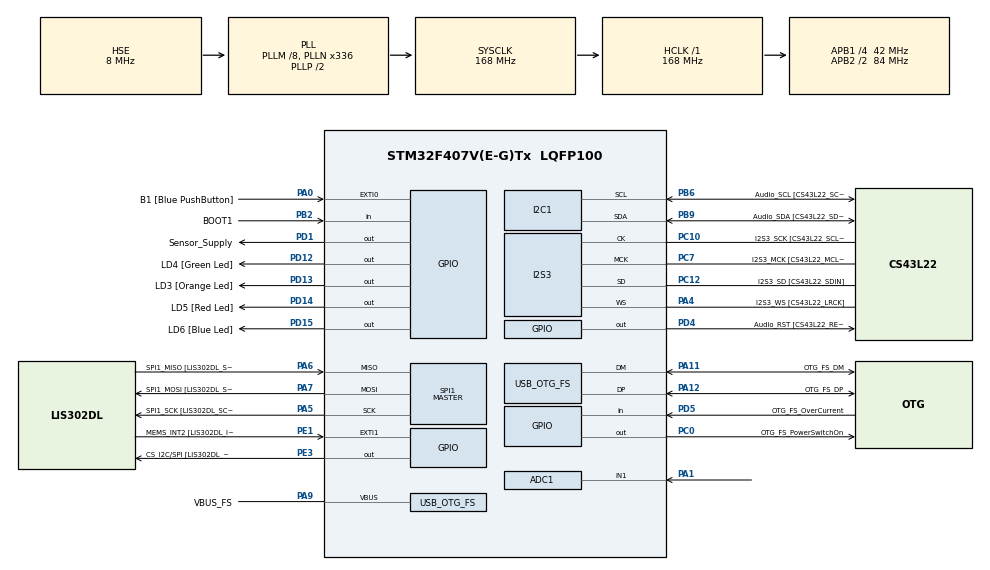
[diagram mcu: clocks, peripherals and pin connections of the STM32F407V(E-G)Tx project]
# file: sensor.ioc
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ADC1.Channel-0\#ChannelRegularConversion=ADC_CHANNEL_1
ADC1.NbrOfConversionFlag=1
ADC1.Rank-0\#ChannelRegularConversion=1
ADC1.Resolution=ADC_RESOLUTION_10B
ADC1.SamplingTime-0\#ChannelRegularConversion=ADC_SAMPLETIME_3CYCLES
ADC1.master=1
I2S3.AudioFreq-Half_Duplex_Master=I2S_AUDIOFREQ_96K
I2S3.ErrorAudioFreq=-2.34 %
I2S3.ErrorAudioFreq-Half_Duplex_Master=0.8 %
I2S3.FullDuplexMode=I2S_FULLDUPLEXMODE_DISABLE
I2S3.Instance=SPI$Index
I2S3.RealAudioFreq=93.75 KHz
I2S3.RealAudioFreq-Half_Duplex_Master=96.774 KHz
I2S3.VirtualMode=I2S_MODE_MASTER
Mcu.Family=STM32F4
Mcu.Name=STM32F407V(E-G)Tx
Mcu.Package=LQFP100
NVIC.OTG_FS_IRQn=true\:0\:0\:false\:false\:true\:true\:true
NVIC.PriorityGroup=NVIC_PRIORITYGROUP_0
PA0-WKUP.GPIO_Label=B1 [Blue PushButton]
PA0-WKUP.GPIO_ModeDefaultEXTI=GPIO_MODE_EVT_RISING
PA0-WKUP.GPIO_PuPd=GPIO_NOPULL
PA0-WKUP.Signal=GPXTI0
PA1.Signal=ADCx_IN1
PA10.GPIO_Label=OTG_FS_ID
PA10.GPIO_Mode=GPIO_MODE_AF_PP
PA10.GPIO_PuPd=GPIO_NOPULL
PA10.GPIO_Speed=GPIO_SPEED_FREQ_LOW
PA10.Signal=USB_OTG_FS_ID
PA11.GPIO_Label=OTG_FS_DM
PA11.GPIO_Mode=GPIO_MODE_AF_PP
PA11.GPIO_PuPd=GPIO_NOPULL
PA11.GPIO_Speed=GPIO_SPEED_FREQ_LOW
PA11.Mode=Host_Only
PA11.Signal=USB_OTG_FS_DM
PA12.GPIO_Label=OTG_FS_DP
PA12.GPIO_Mode=GPIO_MODE_AF_PP
PA12.GPIO_PuPd=GPIO_NOPULL
PA12.GPIO_Speed=GPIO_SPEED_FREQ_LOW
PA12.Mode=Host_Only
PA12.Signal=USB_OTG_FS_DP
PA13.GPIO_Label=SWDIO
PA13.Mode=Serial_Wire
PA13.Signal=SYS_JTMS-SWDIO
PA14.GPIO_Label=SWCLK
PA14.Mode=Serial_Wire
PA14.Signal=SYS_JTCK-SWCLK
PA4.GPIO_Label=I2S3_WS [CS43L22_LRCK]
PA4.GPIO_Mode=GPIO_MODE_AF_PP
PA4.GPIO_PuPd=GPIO_NOPULL
PA4.GPIO_Speed=GPIO_SPEED_FREQ_LOW
PA4.Mode=Half_Duplex_Master
PA4.Signal=I2S3_WS
PA5.GPIO_Label=SPI1_SCK [LIS302DL_SCL/SPC]
PA5.GPIO_Mode=GPIO_MODE_AF_PP
PA5.GPIO_PuPd=GPIO_NOPULL
PA5.GPIO_Speed=GPIO_SPEED_FREQ_LOW
PA5.Mode=Full_Duplex_Master
PA5.Signal=SPI1_SCK
PA6.GPIO_Label=SPI1_MISO [LIS302DL_SDO]
PA6.GPIO_Mode=GPIO_MODE_AF_PP
PA6.GPIO_PuPd=GPIO_NOPULL
PA6.GPIO_Speed=GPIO_SPEED_FREQ_LOW
PA6.Mode=Full_Duplex_Master
PA6.Signal=SPI1_MISO
PA7.GPIO_Label=SPI1_MOSI [LIS302DL_SDA/SDI/SDO]
PA7.GPIO_Mode=GPIO_MODE_AF_PP
PA7.GPIO_PuPd=GPIO_NOPULL
PA7.GPIO_Speed=GPIO_SPEED_FREQ_LOW
PA7.Mode=Full_Duplex_Master
PA7.Signal=SPI1_MOSI
PA9.GPIO_Label=VBUS_FS
PA9.GPIO_Mode=GPIO_MODE_INPUT
PA9.GPIO_PuPd=GPIO_NOPULL
PA9.Mode=Activate_VBUS
PA9.Signal=USB_OTG_FS_VBUS
PB10.GPIO_Label=CLK_IN [MP45DT02_CLK]
PB10.GPIO_Mode=GPIO_MODE_AF_PP
PB10.GPIO_PuPd=GPIO_NOPULL
PB10.GPIO_Speed=GPIO_SPEED_FREQ_LOW
PB10.Signal=I2S2_CK
PB2.GPIO_Label=BOOT1
PB2.GPIO_Mode=GPIO_MODE_INPUT
PB2.GPIO_PuPd=GPIO_NOPULL
PB2.Signal=GPIO_Input
PB3.GPIO_Label=SWO
PB3.Signal=SYS_JTDO-SWO
PB6.GPIO_Label=Audio_SCL [CS43L22_SCL]
PB6.GPIO_Mode=GPIO_MODE_AF_OD
PB6.GPIO_PuPd=GPIO_NOPULL
PB6.GPIO_Speed=GPIO_SPEED_FREQ_LOW
PB6.Mode=I2C
PB6.Signal=I2C1_SCL
PB9.GPIO_Label=Audio_SDA [CS43L22_SDA]
PB9.GPIO_Mode=GPIO_MODE_AF_OD
PB9.GPIO_PuPd=GPIO_NOPULL
PB9.GPIO_Speed=GPIO_SPEED_FREQ_LOW
PB9.Mode=I2C
PB9.Signal=I2C1_SDA
PC0.GPIO_Label=OTG_FS_PowerSwitchOn
PC0.GPIO_PuPd=GPIO_NOPULL
PC0.GPIO_Speed=GPIO_SPEED_FREQ_LOW
PC0.PinState=GPIO_PIN_SET
PC0.Signal=GPIO_Output
PC10.GPIO_Label=I2S3_SCK [CS43L22_SCLK]
PC10.GPIO_Mode=GPIO_MODE_AF_PP
PC10.GPIO_PuPd=GPIO_NOPULL
PC10.GPIO_Speed=GPIO_SPEED_FREQ_LOW
PC10.Mode=Half_Duplex_Master
PC10.Signal=I2S3_CK
PC12.GPIO_Label=I2S3_SD [CS43L22_SDIN]
PC12.GPIO_Mode=GPIO_MODE_AF_PP
PC12.GPIO_PuPd=GPIO_NOPULL
PC12.GPIO_Speed=GPIO_SPEED_FREQ_LOW
PC12.Mode=Half_Duplex_Master
PC12.Signal=I2S3_SD
PC14-OSC32_IN.GPIO_Label=PC14-OSC32_IN
PC14-OSC32_IN.Mode=LSE-External-Oscillator
PC14-OSC32_IN.Signal=RCC_OSC32_IN
PC15-OSC32_OUT.GPIO_Label=PC15-OSC32_OUT
PC15-OSC32_OUT.Mode=LSE-External-Oscillator
PC15-OSC32_OUT.Signal=RCC_OSC32_OUT
PC3.GPIO_Label=PDM_OUT [MP45DT02_DOUT]
PC3.GPIO_Mode=GPIO_MODE_AF_PP
PC3.GPIO_PuPd=GPIO_NOPULL
PC3.GPIO_Speed=GPIO_SPEED_FREQ_LOW
PC3.Signal=I2S2_SD
PC7.GPIO_Label=I2S3_MCK [CS43L22_MCLK]
PC7.GPIO_Mode=GPIO_MODE_AF_PP
PC7.GPIO_PuPd=GPIO_NOPULL
PC7.GPIO_Speed=GPIO_SPEED_FREQ_LOW
PC7.Mode=Master_Clock_Activated
PC7.Signal=I2S3_MCK
PD1.GPIO_Label=Sensor_Supply
PD1.Signal=GPIO_Output
PD12.GPIO_Label=LD4 [Green Led]
PD12.GPIO_PuPd=GPIO_NOPULL
PD12.GPIO_Speed=GPIO_SPEED_FREQ_LOW
PD12.Signal=GPIO_Output
PD13.GPIO_Label=LD3 [Orange Led]
PD13.GPIO_PuPd=GPIO_NOPULL
PD13.GPIO_Speed=GPIO_SPEED_FREQ_LOW
PD13.Signal=GPIO_Output
PD14.GPIO_Label=LD5 [Red Led]
PD14.GPIO_PuPd=GPIO_NOPULL
PD14.GPIO_Speed=GPIO_SPEED_FREQ_LOW
PD14.Signal=GPIO_Output
PD15.GPIO_Label=LD6 [Blue Led]
PD15.GPIO_PuPd=GPIO_NOPULL
PD15.GPIO_Speed=GPIO_SPEED_FREQ_LOW
PD15.Signal=GPIO_Output
PD4.GPIO_Label=Audio_RST [CS43L22_RESET]
PD4.GPIO_PuPd=GPIO_NOPULL
PD4.GPIO_Speed=GPIO_SPEED_FREQ_LOW
PD4.Signal=GPIO_Output
PD5.GPIO_Label=OTG_FS_OverCurrent
PD5.GPIO_Mode=GPIO_MODE_INPUT
PD5.GPIO_PuPd=GPIO_NOPULL
PD5.Signal=GPIO_Input
PE1.GPIO_Label=MEMS_INT2 [LIS302DL_INT2]
PE1.GPIO_ModeDefaultEXTI=GPIO_MODE_EVT_RISING
PE1.GPIO_PuPd=GPIO_NOPULL
PE1.Signal=GPXTI1
PE3.GPIO_Label=CS_I2C/SPI [LIS302DL_CS_I2C/SPI]
PE3.GPIO_PuPd=GPIO_NOPULL
PE3.GPIO_Speed=GPIO_SPEED_FREQ_LOW
PE3.Signal=GPIO_Output
PH0-OSC_IN.GPIO_Label=PH0-OSC_IN
PH0-OSC_IN.Mode=HSE-External-Clock-Source
PH0-OSC_IN.Signal=RCC_OSC_IN
PH1-OSC_OUT.GPIO_Label=PH1-OSC_OUT
PH1-OSC_OUT.Mode=HSE-External-Clock-Source
PH1-OSC_OUT.Signal=RCC_OSC_OUT
ProjectManager.HeapSize=0x200
<<<<<<< HEAD
=======
>>>>>>> origin/feature_LoRa_Communication
ProjectManager.StackSize=0x400
ProjectManager.TargetToolchain=STM32CubeIDE
RCC.48MHZClocksFreq_Value=48000000
RCC.AHBFreq_Value=168000000
RCC.APB1CLKDivider=RCC_HCLK_DIV4
RCC.APB1Freq_Value=42000000
RCC.APB1TimFreq_Value=84000000
RCC.APB2CLKDivider=RCC_HCLK_DIV2
RCC.APB2Freq_Value=84000000
RCC.APB2TimFreq_Value=168000000
RCC.CortexFreq_Value=168000000
RCC.HCLKFreq_Value=168000000
RCC.HSE_VALUE=8000000
RCC.HSI_VALUE=16000000
RCC.PLLM=8
RCC.PLLN=336
RCC.PLLQ=7
RCC.SYSCLKFreq_VALUE=168000000
RCC.SYSCLKSource=RCC_SYSCLKSOURCE_PLLCLK
RCC.VCOOutputFreq_Value=336000000
SH.ADCx_IN1.0=ADC1_IN1,IN1
SPI1.BaudRatePrescaler-Full_Duplex_Master=SPI_BAUDRATEPRESCALER_2
SPI1.CalculateBaudRate-Full_Duplex_Master=42.0 MBits/s
SPI1.Direction=SPI_DIRECTION_2LINES
SPI1.Mode=SPI_MODE_MASTER
SPI1.Mode-Full_Duplex_Master=SPI_MODE_MASTER
SPI1.VirtualType=VM_MASTER
USB_HOST.BSP.number=1
USB_HOST.USBH_HandleTypeDef-CDC_FS=hUsbHostFS
USB_HOST.VirtualModeFS=Cdc
USB_HOST0.BSP.STBoard=false
USB_HOST0.BSP.api=Unknown
USB_HOST0.BSP.i2caddr=0
USB_HOST0.BSP.i2creg=0
USB_HOST0.BSP.instance=PC0
USB_HOST0.BSP.ip=GPIO
USB_HOST0.BSP.mode=Output
USB_HOST0.BSP.name=Drive_VBUS_FS
USB_HOST0.BSP.solution=PC0
USB_OTG_FS.VirtualMode=Host_Only
USB_OTG_FS.phy_itface=HCD_PHY_EMBEDDED
VP_USB_HOST_VS_USB_HOST_CDC_FS.Mode=CDC_FS
board=STM32F407G-DISC1

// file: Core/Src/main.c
/* USER CODE BEGIN Header */
/**
  ******************************************************************************
  * @file           : main.c
  * @brief          : Main program body
  ******************************************************************************
  * @attention
  *
  * <h2><center>&copy; Copyright (c) 2020 STMicroelectronics.
  * All rights reserved.</center></h2>
  *
  * This software component is licensed by ST under Ultimate Liberty license
  * SLA0044, the "License"; You may not use this file except in compliance with
  * the License. You may obtain a copy of the License at:
  *                             www.st.com/SLA0044
  *
  ******************************************************************************
  */
/* USER CODE END Header */

#include "main.h"
#include "usb_host.h"

/* USER CODE BEGIN Includes */
#include "fsm.h"
#include "fsm_sensor.h"
#include "LoRa_comm.h"
#include "ring_buf.h"
#include "fsm.h"
#include "fsm_sensor.h"
/* USER CODE END Includes */

/* USER CODE BEGIN PD */
#define ID_ph_sensor 1
#define range_ph_acido 750 	 	// Only for test, real value is 2.
#define range_ph_basico 800		// Only for test, real value is 5.
#define range_ph_max 900		// Only for test, real value is 14.
#define ph_warning_period 500  	// Test time to alarm.
#define ph_measure_period 200	// Test time to measure.
#define ph_sleep_period 3000	// Test time to sleep
#define ph_setup_period 500		// Test time to setting up
#define ph_average 4			// number of measurements to make for 1 measure.

#define LoRa_period 5000
/* USER CODE END PD */

ADC_HandleTypeDef hadc1;

I2C_HandleTypeDef hi2c1;

I2S_HandleTypeDef hi2s3;

SPI_HandleTypeDef hspi1;

void SystemClock_Config(void);
static void MX_GPIO_Init(void);
static void MX_I2C1_Init(void);
static void MX_I2S3_Init(void);
static void MX_SPI1_Init(void);
static void MX_ADC1_Init(void);
void MX_USB_HOST_Process(void);

int main(void)
{
  /* USER CODE BEGIN 1 */

  fsm_sensor_t fsm_s1;
//  fsm_sensor_t fsm_s2;
//  fsm_sensor_t fsm_s3;

  sensor_t sensor1;
//  sensor_t sensor2;
//  sensor_t sensor3;

  fsm_t* fsm_LoRa;
  /* USER CODE END 1 */

  /* MCU Configuration--------------------------------------------------------*/

  /* Reset of all peripherals, Initializes the Flash interface and the Systick. */
  HAL_Init();

  /* Configure the system clock */
  SystemClock_Config();

  /* Initialize all configured peripherals */
  MX_GPIO_Init();
  MX_I2C1_Init();
  MX_I2S3_Init();
  MX_SPI1_Init();
  MX_USB_HOST_Init();
  MX_ADC1_Init();
  /* USER CODE BEGIN 2 */

  fsm_LoRa = LoRa_initialization(LoRa_period);
  sensor_initialization(&sensor1, ID_ph_sensor, Sensor_Supply_Pin, range_ph_acido, range_ph_basico, range_ph_max, ph_setup_period, ph_warning_period, ph_sleep_period, ph_measure_period, ph_average);

  fsm_sensor_init(&fsm_s1, &sensor1);

  /* USER CODE END 2 */

  /* Infinite loop */
  while (1)
  {
    MX_USB_HOST_Process();

    /* USER CODE BEGIN 3 */
    fsm_fire(fsm_LoRa);
    fsm_fire(&fsm_s1.fsm);
  }
  /* USER CODE END 3 */
}

void SystemClock_Config(void)
{
  RCC_OscInitTypeDef RCC_OscInitStruct = {0};
  RCC_ClkInitTypeDef RCC_ClkInitStruct = {0};
  RCC_PeriphCLKInitTypeDef PeriphClkInitStruct = {0};

  /** Configure the main internal regulator output voltage
  */
  __HAL_RCC_PWR_CLK_ENABLE();
  __HAL_PWR_VOLTAGESCALING_CONFIG(PWR_REGULATOR_VOLTAGE_SCALE1);
  /** Initializes the CPU, AHB and APB busses clocks
  */
  RCC_OscInitStruct.OscillatorType = RCC_OSCILLATORTYPE_HSE;
  RCC_OscInitStruct.HSEState = RCC_HSE_BYPASS;
  RCC_OscInitStruct.PLL.PLLState = RCC_PLL_ON;
  RCC_OscInitStruct.PLL.PLLSource = RCC_PLLSOURCE_HSE;
  RCC_OscInitStruct.PLL.PLLM = 8;
  RCC_OscInitStruct.PLL.PLLN = 336;
  RCC_OscInitStruct.PLL.PLLP = RCC_PLLP_DIV2;
  RCC_OscInitStruct.PLL.PLLQ = 7;
  if (HAL_RCC_OscConfig(&RCC_OscInitStruct) != HAL_OK)
  {
    Error_Handler();
  }
  /** Initializes the CPU, AHB and APB busses clocks
  */
  RCC_ClkInitStruct.ClockType = RCC_CLOCKTYPE_HCLK|RCC_CLOCKTYPE_SYSCLK
                              |RCC_CLOCKTYPE_PCLK1|RCC_CLOCKTYPE_PCLK2;
  RCC_ClkInitStruct.SYSCLKSource = RCC_SYSCLKSOURCE_PLLCLK;
  RCC_ClkInitStruct.AHBCLKDivider = RCC_SYSCLK_DIV1;
  RCC_ClkInitStruct.APB1CLKDivider = RCC_HCLK_DIV4;
  RCC_ClkInitStruct.APB2CLKDivider = RCC_HCLK_DIV2;

  if (HAL_RCC_ClockConfig(&RCC_ClkInitStruct, FLASH_LATENCY_5) != HAL_OK)
  {
    Error_Handler();
  }
  PeriphClkInitStruct.PeriphClockSelection = RCC_PERIPHCLK_I2S;
  PeriphClkInitStruct.PLLI2S.PLLI2SN = 192;
  PeriphClkInitStruct.PLLI2S.PLLI2SR = 2;
  if (HAL_RCCEx_PeriphCLKConfig(&PeriphClkInitStruct) != HAL_OK)
  {
    Error_Handler();
  }
}

static void MX_ADC1_Init(void)
{

  ADC_ChannelConfTypeDef sConfig = {0};

  /** Configure the global features of the ADC (Clock, Resolution, Data Alignment and number of conversion)
  */
  hadc1.Instance = ADC1;
  hadc1.Init.ClockPrescaler = ADC_CLOCK_SYNC_PCLK_DIV4;
  hadc1.Init.Resolution = ADC_RESOLUTION_10B;
  hadc1.Init.ScanConvMode = DISABLE;
  hadc1.Init.ContinuousConvMode = DISABLE;
  hadc1.Init.DiscontinuousConvMode = DISABLE;
  hadc1.Init.ExternalTrigConvEdge = ADC_EXTERNALTRIGCONVEDGE_NONE;
  hadc1.Init.ExternalTrigConv = ADC_SOFTWARE_START;
  hadc1.Init.DataAlign = ADC_DATAALIGN_RIGHT;
  hadc1.Init.NbrOfConversion = 1;
  hadc1.Init.DMAContinuousRequests = DISABLE;
  hadc1.Init.EOCSelection = ADC_EOC_SINGLE_CONV;
  if (HAL_ADC_Init(&hadc1) != HAL_OK)
  {
    Error_Handler();
  }
  /** Configure for the selected ADC regular channel its corresponding rank in the sequencer and its sample time.
  */
  sConfig.Channel = ADC_CHANNEL_1;
  sConfig.Rank = 1;
  sConfig.SamplingTime = ADC_SAMPLETIME_3CYCLES;
  if (HAL_ADC_ConfigChannel(&hadc1, &sConfig) != HAL_OK)
  {
    Error_Handler();
  }

}

static void MX_I2C1_Init(void)
{

  hi2c1.Instance = I2C1;
  hi2c1.Init.ClockSpeed = 100000;
  hi2c1.Init.DutyCycle = I2C_DUTYCYCLE_2;
  hi2c1.Init.OwnAddress1 = 0;
  hi2c1.Init.AddressingMode = I2C_ADDRESSINGMODE_7BIT;
  hi2c1.Init.DualAddressMode = I2C_DUALADDRESS_DISABLE;
  hi2c1.Init.OwnAddress2 = 0;
  hi2c1.Init.GeneralCallMode = I2C_GENERALCALL_DISABLE;
  hi2c1.Init.NoStretchMode = I2C_NOSTRETCH_DISABLE;
  if (HAL_I2C_Init(&hi2c1) != HAL_OK)
  {
    Error_Handler();
  }

}

static void MX_I2S3_Init(void)
{

  hi2s3.Instance = SPI3;
  hi2s3.Init.Mode = I2S_MODE_MASTER_TX;
  hi2s3.Init.Standard = I2S_STANDARD_PHILIPS;
  hi2s3.Init.DataFormat = I2S_DATAFORMAT_16B;
  hi2s3.Init.MCLKOutput = I2S_MCLKOUTPUT_ENABLE;
  hi2s3.Init.AudioFreq = I2S_AUDIOFREQ_96K;
  hi2s3.Init.CPOL = I2S_CPOL_LOW;
  hi2s3.Init.ClockSource = I2S_CLOCK_PLL;
  hi2s3.Init.FullDuplexMode = I2S_FULLDUPLEXMODE_DISABLE;
  if (HAL_I2S_Init(&hi2s3) != HAL_OK)
  {
    Error_Handler();
  }

}

static void MX_SPI1_Init(void)
{

  /* SPI1 parameter configuration*/
  hspi1.Instance = SPI1;
  hspi1.Init.Mode = SPI_MODE_MASTER;
  hspi1.Init.Direction = SPI_DIRECTION_2LINES;
  hspi1.Init.DataSize = SPI_DATASIZE_8BIT;
  hspi1.Init.CLKPolarity = SPI_POLARITY_LOW;
  hspi1.Init.CLKPhase = SPI_PHASE_1EDGE;
  hspi1.Init.NSS = SPI_NSS_SOFT;
  hspi1.Init.BaudRatePrescaler = SPI_BAUDRATEPRESCALER_2;
  hspi1.Init.FirstBit = SPI_FIRSTBIT_MSB;
  hspi1.Init.TIMode = SPI_TIMODE_DISABLE;
  hspi1.Init.CRCCalculation = SPI_CRCCALCULATION_DISABLE;
  hspi1.Init.CRCPolynomial = 10;
  if (HAL_SPI_Init(&hspi1) != HAL_OK)
  {
    Error_Handler();
  }

}

static void MX_GPIO_Init(void)
{
  GPIO_InitTypeDef GPIO_InitStruct = {0};

  /* GPIO Ports Clock Enable */
  __HAL_RCC_GPIOE_CLK_ENABLE();
  __HAL_RCC_GPIOC_CLK_ENABLE();
  __HAL_RCC_GPIOH_CLK_ENABLE();
  __HAL_RCC_GPIOA_CLK_ENABLE();
  __HAL_RCC_GPIOB_CLK_ENABLE();
  __HAL_RCC_GPIOD_CLK_ENABLE();

  /*Configure GPIO pin Output Level */
  HAL_GPIO_WritePin(CS_I2C_SPI_GPIO_Port, CS_I2C_SPI_Pin, GPIO_PIN_RESET);

  /*Configure GPIO pin Output Level */
  HAL_GPIO_WritePin(OTG_FS_PowerSwitchOn_GPIO_Port, OTG_FS_PowerSwitchOn_Pin, GPIO_PIN_SET);

  /*Configure GPIO pin Output Level */
  HAL_GPIO_WritePin(GPIOD, LD4_Pin|LD3_Pin|LD5_Pin|LD6_Pin
                          |Sensor_Supply_Pin|Audio_RST_Pin, GPIO_PIN_RESET);

  /*Configure GPIO pin : CS_I2C_SPI_Pin */
  GPIO_InitStruct.Pin = CS_I2C_SPI_Pin;
  GPIO_InitStruct.Mode = GPIO_MODE_OUTPUT_PP;
  GPIO_InitStruct.Pull = GPIO_NOPULL;
  GPIO_InitStruct.Speed = GPIO_SPEED_FREQ_LOW;
  HAL_GPIO_Init(CS_I2C_SPI_GPIO_Port, &GPIO_InitStruct);

  /*Configure GPIO pin : OTG_FS_PowerSwitchOn_Pin */
  GPIO_InitStruct.Pin = OTG_FS_PowerSwitchOn_Pin;
  GPIO_InitStruct.Mode = GPIO_MODE_OUTPUT_PP;
  GPIO_InitStruct.Pull = GPIO_NOPULL;
  GPIO_InitStruct.Speed = GPIO_SPEED_FREQ_LOW;
  HAL_GPIO_Init(OTG_FS_PowerSwitchOn_GPIO_Port, &GPIO_InitStruct);

  /*Configure GPIO pin : PDM_OUT_Pin */
  GPIO_InitStruct.Pin = PDM_OUT_Pin;
  GPIO_InitStruct.Mode = GPIO_MODE_AF_PP;
  GPIO_InitStruct.Pull = GPIO_NOPULL;
  GPIO_InitStruct.Speed = GPIO_SPEED_FREQ_LOW;
  GPIO_InitStruct.Alternate = GPIO_AF5_SPI2;
  HAL_GPIO_Init(PDM_OUT_GPIO_Port, &GPIO_InitStruct);

  /*Configure GPIO pin : B1_Pin */
  GPIO_InitStruct.Pin = B1_Pin;
  GPIO_InitStruct.Mode = GPIO_MODE_EVT_RISING;
  GPIO_InitStruct.Pull = GPIO_NOPULL;
  HAL_GPIO_Init(B1_GPIO_Port, &GPIO_InitStruct);

  /*Configure GPIO pin : BOOT1_Pin */
  GPIO_InitStruct.Pin = BOOT1_Pin;
  GPIO_InitStruct.Mode = GPIO_MODE_INPUT;
  GPIO_InitStruct.Pull = GPIO_NOPULL;
  HAL_GPIO_Init(BOOT1_GPIO_Port, &GPIO_InitStruct);

  /*Configure GPIO pin : CLK_IN_Pin */
  GPIO_InitStruct.Pin = CLK_IN_Pin;
  GPIO_InitStruct.Mode = GPIO_MODE_AF_PP;
  GPIO_InitStruct.Pull = GPIO_NOPULL;
  GPIO_InitStruct.Speed = GPIO_SPEED_FREQ_LOW;
  GPIO_InitStruct.Alternate = GPIO_AF5_SPI2;
  HAL_GPIO_Init(CLK_IN_GPIO_Port, &GPIO_InitStruct);

  /*Configure GPIO pins : LD4_Pin LD3_Pin LD5_Pin LD6_Pin
                           Sensor_Supply_Pin Audio_RST_Pin */
  GPIO_InitStruct.Pin = LD4_Pin|LD3_Pin|LD5_Pin|LD6_Pin
                          |Sensor_Supply_Pin|Audio_RST_Pin;
  GPIO_InitStruct.Mode = GPIO_MODE_OUTPUT_PP;
  GPIO_InitStruct.Pull = GPIO_NOPULL;
  GPIO_InitStruct.Speed = GPIO_SPEED_FREQ_LOW;
  HAL_GPIO_Init(GPIOD, &GPIO_InitStruct);

  /*Configure GPIO pin : OTG_FS_OverCurrent_Pin */
  GPIO_InitStruct.Pin = OTG_FS_OverCurrent_Pin;
  GPIO_InitStruct.Mode = GPIO_MODE_INPUT;
  GPIO_InitStruct.Pull = GPIO_NOPULL;
  HAL_GPIO_Init(OTG_FS_OverCurrent_GPIO_Port, &GPIO_InitStruct);

  /*Configure GPIO pin : MEMS_INT2_Pin */
  GPIO_InitStruct.Pin = MEMS_INT2_Pin;
  GPIO_InitStruct.Mode = GPIO_MODE_EVT_RISING;
  GPIO_InitStruct.Pull = GPIO_NOPULL;
  HAL_GPIO_Init(MEMS_INT2_GPIO_Port, &GPIO_InitStruct);

}

void Error_Handler(void)
{
}

/************************ (C) COPYRIGHT STMicroelectronics *****END OF FILE****/
